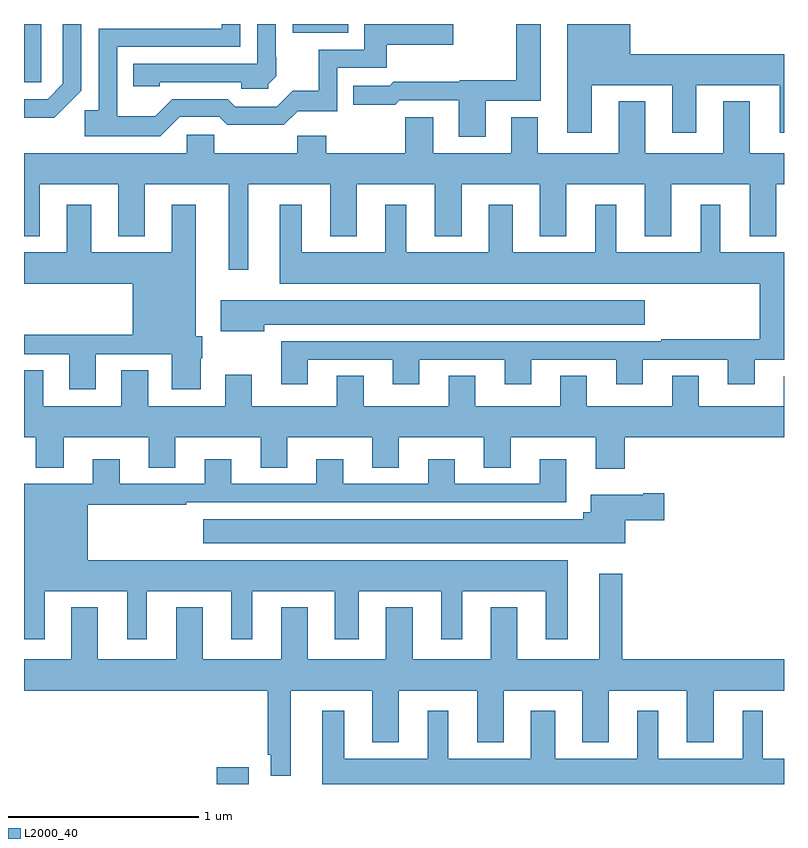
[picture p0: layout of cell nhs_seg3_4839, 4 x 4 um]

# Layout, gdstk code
import gdstk
lib = gdstk.Library(unit=1e-6, precision=1e-09)
def R(c, l, rs):  # rectangles x0, y0, x1, y1
    for r in rs: c.add(gdstk.rectangle(r[:2], r[2:], *l))
def P(c, l, *ps):  # polygons
    for p in ps: c.add(gdstk.Polygon(p, *l))
L2000_40 = (2000, 40)

nhs_seg3_4839 = lib.new_cell('nhs_seg3_4839')
R(nhs_seg3_4839, L2000_40, [(372.014,724.4,372.184,724.489), (372.414,728.354,372.707,728.4)])
P(nhs_seg3_4839, L2000_40, [(371.301,728.048),(371.301,728.4),(371.205,728.4),(371.205,728.085),(371.124,728.004),(371,728.004),(371,727.907),(371.16,727.907)],
  [(373.987,728.078),(374.411,728.078),(374.411,727.827),(374.539,727.827),(374.539,728.078),(374.978,728.078),(374.978,727.827),(375,727.827),(375,728.242),(374.191,728.242),(374.191,728.4),(373.859,728.4),(373.859,727.827),(373.987,727.827)],
  [(372.285,728.084),(372.327,728.125),(372.327,728.224),(372.324,728.224),(372.324,728.4),(372.228,728.4),(372.228,728.19),(371.575,728.19),(371.575,728.073),(371.715,728.073),(371.715,728.094),(372.143,728.094),(372.143,728.058),(372.285,728.058)],
  [(373.429,727.995),(373.72,727.995),(373.72,728.4),(373.591,728.4),(373.591,728.104),(373.293,728.104),(373.293,728.095),(372.943,728.095),(372.924,728.076),(372.733,728.076),(372.733,727.976),(372.953,727.976),(372.975,727.998),(373.289,727.998),(373.289,727.806),(373.429,727.806)],
  [(371.821,727.911),(372.027,727.911),(372.07,727.869),(372.368,727.869),(372.44,727.94),(372.648,727.94),(372.648,728.169),(372.908,728.169),(372.908,728.291),(373.258,728.291),(373.258,728.4),(372.792,728.4),(372.792,728.265),(372.55,728.265),(372.55,728.049),(372.414,728.049),(372.33,727.965),(372.111,727.965),(372.072,728.004),(371.781,728.004),(371.691,727.914),(371.49,727.914),(371.49,728.28),(372.138,728.28),(372.138,728.4),(372.042,728.4),(372.042,728.376),(371.394,728.376),(371.394,727.946),(371.321,727.946),(371.321,727.808),(371.718,727.808)],
  [(371.09,728.206),(371.092,728.206),(371.092,728.4),(371,728.4),(371,728.094),(371.09,728.094)],
  [(372.181,727.556),(372.611,727.556),(372.611,727.283),(372.751,727.283),(372.751,727.556),(373.163,727.556),(373.163,727.283),(373.303,727.283),(373.303,727.556),(373.715,727.556),(373.715,727.283),(373.855,727.283),(373.855,727.556),(374.267,727.556),(374.267,727.283),(374.407,727.283),(374.407,727.556),(374.819,727.556),(374.819,727.283),(374.959,727.283),(374.959,727.556),(375,727.556),(375,727.72),(374.821,727.72),(374.821,727.993),(374.681,727.993),(374.681,727.72),(374.269,727.72),(374.269,727.993),(374.129,727.993),(374.129,727.72),(373.705,727.72),(373.705,727.91),(373.565,727.91),(373.565,727.72),(373.153,727.72),(373.153,727.91),(373.006,727.91),(373.006,727.72),(372.591,727.72),(372.591,727.813),(372.437,727.813),(372.437,727.72),(372.002,727.72),(372.002,727.818),(371.856,727.818),(371.856,727.72),(371,727.72),(371,727.283),(371.083,727.283),(371.083,727.556),(371.495,727.556),(371.495,727.283),(371.635,727.283),(371.635,727.556),(372.077,727.556),(372.077,727.107),(372.181,727.107)],
  [(372.493,726.633),(372.941,726.633),(372.941,726.504),(373.081,726.504),(373.081,726.633),(373.529,726.633),(373.529,726.504),(373.669,726.504),(373.669,726.633),(374.117,726.633),(374.117,726.504),(374.257,726.504),(374.257,726.633),(374.705,726.633),(374.705,726.504),(374.845,726.504),(374.845,726.632),(375,726.632),(375,727.198),(374.665,727.198),(374.665,727.45),(374.561,727.45),(374.561,727.198),(374.116,727.198),(374.116,727.45),(374.006,727.45),(374.006,727.198),(373.573,727.198),(373.573,727.45),(373.445,727.45),(373.445,727.198),(373.012,727.198),(373.012,727.45),(372.902,727.45),(372.902,727.198),(372.463,727.198),(372.463,727.45),(372.347,727.45),(372.347,727.034),(374.873,727.034),(374.873,726.742),(374.353,726.742),(374.353,726.729),(372.353,726.729),(372.353,726.504),(372.493,726.504)],
  [(371.377,726.663),(371.777,726.663),(371.777,726.477),(371.929,726.477),(371.929,726.64),(371.937,726.64),(371.937,726.756),(371.905,726.756),(371.905,727.45),(371.777,727.45),(371.777,727.198),(371.353,727.198),(371.353,727.45),(371.225,727.45),(371.225,727.198),(371,727.198),(371,727.034),(371.573,727.034),(371.573,726.764),(371,726.764),(371,726.663),(371.237,726.663),(371.237,726.477),(371.377,726.477)],
  [(372.265,726.818),(374.266,726.818),(374.266,726.946),(372.036,726.946),(372.036,726.782),(372.265,726.782)],
  [(374.162,726.224),(375,726.224),(375,726.547),(374.999,726.547),(374.999,726.388),(374.551,726.388),(374.551,726.548),(374.411,726.548),(374.411,726.388),(373.963,726.388),(373.963,726.548),(373.823,726.548),(373.823,726.388),(373.375,726.388),(373.375,726.548),(373.235,726.548),(373.235,726.388),(372.787,726.388),(372.787,726.548),(372.647,726.548),(372.647,726.388),(372.199,726.388),(372.199,726.553),(372.059,726.553),(372.059,726.388),(371.653,726.388),(371.653,726.578),(371.513,726.578),(371.513,726.388),(371.101,726.388),(371.101,726.578),(371,726.578),(371,726.224),(371.062,726.224),(371.062,726.065),(371.209,726.065),(371.209,726.224),(371.657,726.224),(371.657,726.064),(371.797,726.064),(371.797,726.224),(372.245,726.224),(372.245,726.064),(372.385,726.064),(372.385,726.224),(372.833,726.224),(372.833,726.064),(372.973,726.064),(372.973,726.224),(373.421,726.224),(373.421,726.064),(373.561,726.064),(373.561,726.224),(374.009,726.224),(374.009,726.06),(374.162,726.06)],
  [(371.11,725.414),(371.543,725.414),(371.543,725.163),(371.647,725.163),(371.647,725.414),(372.092,725.414),(372.092,725.163),(372.202,725.163),(372.202,725.414),(372.635,725.414),(372.635,725.163),(372.763,725.163),(372.763,725.414),(373.196,725.414),(373.196,725.163),(373.306,725.163),(373.306,725.414),(373.745,725.414),(373.745,725.163),(373.861,725.163),(373.861,725.578),(371.335,725.578),(371.335,725.871),(371.855,725.871),(371.855,725.883),(373.855,725.883),(373.855,726.109),(373.715,726.109),(373.715,725.979),(373.267,725.979),(373.267,726.109),(373.127,726.109),(373.127,725.979),(372.679,725.979),(372.679,726.109),(372.539,726.109),(372.539,725.979),(372.091,725.979),(372.091,726.109),(371.951,726.109),(371.951,725.979),(371.503,725.979),(371.503,726.109),(371.363,726.109),(371.363,725.98),(371,725.98),(371,725.163),(371.11,725.163)],
  [(374.164,725.789),(374.371,725.789),(374.371,725.931),(374.258,725.931),(374.258,725.923),(373.982,725.923),(373.982,725.83),(373.943,725.83),(373.943,725.794),(371.943,725.794),(371.943,725.666),(374.164,725.666)],
  [(372.403,724.892),(372.833,724.892),(372.833,724.619),(372.973,724.619),(372.973,724.892),(373.385,724.892),(373.385,724.619),(373.525,724.619),(373.525,724.892),(373.937,724.892),(373.937,724.619),(374.077,724.619),(374.077,724.892),(374.489,724.892),(374.489,724.619),(374.629,724.619),(374.629,724.892),(375,724.892),(375,725.056),(374.149,725.056),(374.149,725.506),(374.027,725.506),(374.027,725.056),(373.597,725.056),(373.597,725.329),(373.457,725.329),(373.457,725.056),(373.045,725.056),(373.045,725.329),(372.905,725.329),(372.905,725.056),(372.493,725.056),(372.493,725.329),(372.353,725.329),(372.353,725.056),(371.941,725.056),(371.941,725.329),(371.801,725.329),(371.801,725.056),(371.389,725.056),(371.389,725.329),(371.249,725.329),(371.249,725.056),(371,725.056),(371,724.892),(372.282,724.892),(372.282,724.555),(372.299,724.555),(372.299,724.443),(372.403,724.443)],
  [(375,724.534),(374.887,724.534),(374.887,724.786),(374.783,724.786),(374.783,724.534),(374.338,724.534),(374.338,724.786),(374.228,724.786),(374.228,724.534),(373.795,724.534),(373.795,724.786),(373.667,724.786),(373.667,724.534),(373.234,724.534),(373.234,724.786),(373.124,724.786),(373.124,724.534),(372.685,724.534),(372.685,724.786),(372.569,724.786),(372.569,724.4),(375,724.4)])

lib.write_gds('nhs_seg3_4839.gds')
